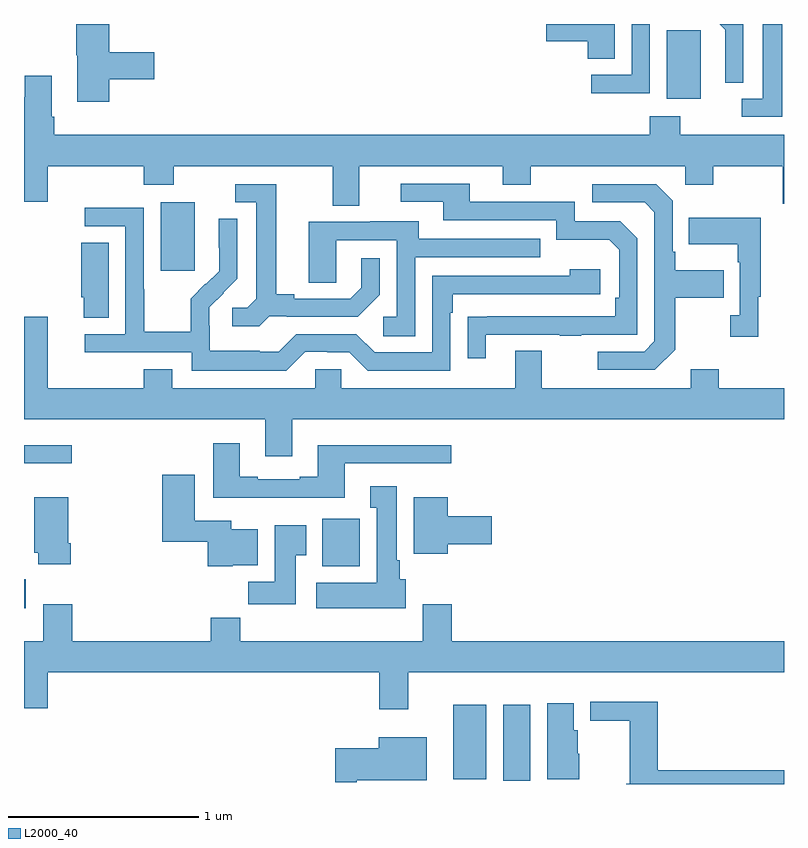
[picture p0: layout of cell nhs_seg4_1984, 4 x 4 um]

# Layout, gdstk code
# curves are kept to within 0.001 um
import gdstk
lib = gdstk.Library(unit=1e-6, precision=1e-09)
def R(c, l, rs):  # rectangles x0, y0, x1, y1
    for r in rs: c.add(gdstk.rectangle(r[:2], r[2:], *l))
def P(c, l, *ps):  # polygons
    for p in ps: c.add(gdstk.Polygon(p, *l))
L2000_40 = (2000, 40)

nhs_seg4_1984 = lib.new_cell('nhs_seg4_1984')
R(nhs_seg4_1984, L2000_40, [(215.522,794.916,215.665,795.316), (215.258,794.924,215.434,795.316), (213,795.824,213.01,795.978), (214.571,796.046,214.767,796.297), (213,796.587,213.25,796.684), (213.719,797.601,213.898,797.962), (216.383,798.506,216.562,798.867)])
P(nhs_seg4_1984, L2000_40, [(216.991,798.9),(216.887,798.9),(216.887,798.507),(216.777,798.507),(216.777,798.411),(216.991,798.411)],
  [(216.109,798.9),(215.748,798.9),(215.748,798.809),(215.966,798.809),(215.966,798.718),(216.109,798.718)],
  [(216.294,798.9),(216.198,798.9),(216.198,798.633),(215.985,798.633),(215.985,798.535),(216.294,798.535)],
  [(213.449,798.61),(213.685,798.61),(213.685,798.752),(213.449,798.752),(213.449,798.9),(213.274,798.9),(213.274,798.735),(213.281,798.735),(213.281,798.492),(213.449,798.492)],
  [(216.786,798.9),(216.661,798.9),(216.692,798.869),(216.692,798.746),(216.69,798.746),(216.69,798.592),(216.786,798.592)],
  [(214.765,798.152),(215.519,798.152),(215.519,798.053),(215.667,798.053),(215.667,798.152),(216.48,798.152),(216.48,798.053),(216.627,798.053),(216.627,798.152),(216.994,798.152),(216.994,797.953),(217,797.953),(217,798.316),(216.453,798.316),(216.453,798.415),(216.293,798.415),(216.293,798.316),(213.158,798.316),(213.158,798.412),(213.145,798.412),(213.145,798.628),(213.005,798.628),(213.005,798.515),(213,798.515),(213,797.964),(213.124,797.964),(213.124,798.152),(213.629,798.152),(213.629,798.053),(213.789,798.053),(213.789,798.152),(214.625,798.152),(214.625,797.944),(214.765,797.944)],
  [(215.431,797.265),(215.821,797.265),(215.821,797.26),(215.933,797.26),(215.933,797.265),(216.228,797.265),(216.228,797.772),(216.138,797.862),(215.898,797.862),(215.898,797.964),(215.347,797.964),(215.347,798.06),(214.983,798.06),(214.983,797.964),(215.207,797.964),(215.207,797.868),(215.802,797.868),(215.802,797.765),(216.079,797.765),(216.132,797.712),(216.132,797.458),(216.112,797.458),(216.112,797.361),(215.335,797.36),(215.335,797.142),(215.431,797.142)],
  [(216.427,797.185),(216.427,797.458),(216.683,797.458),(216.683,797.605),(216.427,797.605),(216.427,797.701),(216.414,797.701),(216.414,797.97),(216.327,798.057),(215.991,798.057),(215.991,797.961),(216.267,797.961),(216.318,797.91),(216.318,797.229),(216.264,797.175),(216.021,797.175),(216.021,797.079),(216.321,797.079)],
  [(214.29,797.361),(214.384,797.361),(214.384,797.358),(214.756,797.358),(214.872,797.474),(214.872,797.668),(214.775,797.668),(214.775,797.511),(214.718,797.454),(214.423,797.454),(214.423,797.477),(214.327,797.477),(214.327,798.057),(214.113,798.057),(214.113,797.961),(214.223,797.961),(214.223,797.453),(214.176,797.406),(214.095,797.406),(214.095,797.309),(214.238,797.309)],
  [(214.479,797.175),(214.595,797.175),(214.595,797.172),(214.713,797.172),(214.809,797.076),(215.244,797.076),(215.244,797.381),(215.257,797.381),(215.257,797.478),(216.034,797.478),(216.034,797.608),(215.873,797.608),(215.873,797.574),(215.148,797.574),(215.148,797.172),(214.845,797.172),(214.749,797.268),(214.434,797.268),(214.341,797.175),(214.241,797.175),(214.241,797.179),(213.978,797.179),(213.978,797.313),(213.976,797.313),(213.976,797.41),(214.122,797.558),(214.122,797.876),(214.026,797.876),(214.026,797.722),(214.028,797.722),(214.028,797.6),(213.957,797.529),(213.954,797.532),(213.877,797.455),(213.877,797.281),(213.633,797.281),(213.633,797.504),(213.63,797.504),(213.63,797.934),(213.321,797.934),(213.321,797.835),(213.534,797.835),(213.534,797.268),(213.321,797.268),(213.321,797.172),(213.882,797.172),(213.882,797.075),(214.379,797.075)],
  [(216.865,797.465),(216.877,797.465),(216.877,797.881),(216.499,797.881),(216.499,797.741),(216.756,797.741),(216.756,797.645),(216.768,797.645),(216.768,797.366),(216.717,797.366),(216.717,797.253),(216.865,797.253)],
  [(215.058,797.673),(215.717,797.673),(215.717,797.769),(215.077,797.769),(215.077,797.863),(214.823,797.863),(214.823,797.859),(214.499,797.859),(214.499,797.539),(214.644,797.539),(214.644,797.763),(214.962,797.763),(214.962,797.358),(214.89,797.358),(214.89,797.257),(215.058,797.257)],
  [(213.445,797.75),(213.302,797.75),(213.302,797.461),(213.314,797.461),(213.314,797.353),(213.445,797.353)],
  [(214.411,796.82),(217,796.82),(217,796.984),(216.657,796.984),(216.657,797.083),(216.509,797.083),(216.509,796.984),(215.725,796.984),(215.725,797.179),(215.585,797.179),(215.585,796.984),(214.671,796.984),(214.671,797.082),(214.533,797.082),(214.533,796.984),(213.781,796.984),(213.781,797.083),(213.629,797.083),(213.629,796.984),(213.124,796.984),(213.124,797.359),(213,797.359),(213,796.82),(214.271,796.82),(214.271,796.626),(214.411,796.626)],
  [(214.687,796.587),(215.248,796.587),(215.248,796.684),(214.547,796.684),(214.547,796.516),(214.451,796.516),(214.451,796.503),(214.231,796.503),(214.231,796.516),(214.135,796.516),(214.135,796.693),(213.995,796.693),(213.995,796.406),(214.687,796.406)],
  [(214.098,796.052),(214.231,796.052),(214.231,796.24),(214.09,796.24),(214.09,796.285),(213.898,796.285),(213.898,796.528),(213.728,796.528),(213.728,796.175),(213.968,796.175),(213.968,796.046),(214.098,796.046)],
  [(215.008,795.978),(214.978,795.978),(214.978,796.078),(214.963,796.078),(214.963,796.468),(214.823,796.468),(214.823,796.355),(214.856,796.355),(214.856,795.958),(214.539,795.958),(214.539,795.824),(215.008,795.824)],
  [(215.23,796.163),(215.461,796.163),(215.461,796.31),(215.23,796.31),(215.23,796.408),(215.051,796.408),(215.051,796.112),(215.23,796.112)],
  [(213.245,796.168),(213.232,796.168),(213.232,796.408),(213.053,796.408),(213.053,796.116),(213.074,796.116),(213.074,796.056),(213.245,796.056)],
  [(214.429,796.105),(214.486,796.105),(214.486,796.261),(214.319,796.261),(214.319,795.964),(214.18,795.964),(214.18,795.846),(214.429,795.846)],
  [(215.023,795.488),(217,795.488),(217,795.652),(215.252,795.652),(215.252,795.847),(215.099,795.847),(215.099,795.652),(214.139,795.652),(214.139,795.776),(213.983,795.776),(213.983,795.652),(213.254,795.652),(213.254,795.847),(213.101,795.847),(213.101,795.652),(213,795.652),(213,795.3),(213.124,795.3),(213.124,795.488),(214.871,795.488),(214.871,795.294),(215.023,795.294)],
  [(217,794.972),(216.335,794.972),(216.335,795.334),(215.979,795.334),(215.979,795.232),(216.188,795.232),(216.188,794.902),(216.169,794.902),(216.169,794.9),(217,794.9)],
  [(215.923,795.06),(215.914,795.06),(215.914,795.183),(215.893,795.183),(215.893,795.325),(215.753,795.325),(215.753,794.924),(215.923,794.924)],
  [(214.75,794.921),(215.119,794.921),(215.119,795.145),(214.868,795.145),(214.868,795.087),(214.638,795.087),(214.638,794.909),(214.75,794.909)])

lib.write_gds('nhs_seg4_1984.gds')
